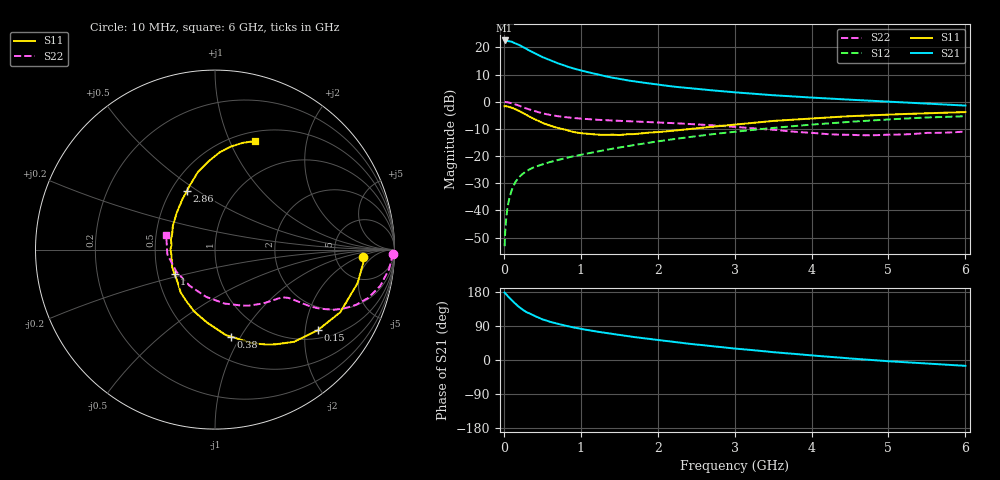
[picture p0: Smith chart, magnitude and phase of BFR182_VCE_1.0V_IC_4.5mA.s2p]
! Infineon Technologies  Discrete & RF Semiconductors
! BFR182
! VCE =  1.0 V,  IC =  4.5 mA
! Common Emitter S-Parameters:  Nov 2015
# GHz  S  MA  R  50
!  f  S11  S21  S12  S22
! GHz  MAG  ANG  MAG  ANG  MAG  ANG  MAG  ANG
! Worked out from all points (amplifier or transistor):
!   210 points, 10 MHz to 6 GHz, reference 50 ohm
!   highest |S21| = 22.5 dB at 10 MHz (marker M1)
!   |S21| within 3 dB of that: start of sweep to 286.4 MHz
!   unconditionally stable (mu >= 1): 1.046 GHz to 3.091 GHz
!   at 185 MHz: K = 0.31, MSG = 24.6 dB, |S12| = -28.2 dB
!   at 1.52 GHz: K = 1.08, MAG = 10.8 dB, |S12| = -16.8 dB
!   at 6 GHz: K = 0.92, MSG = 2.0 dB, |S12| = -5.3 dB
!   S11 on the Smith chart (normalised r, x): 10 MHz: 10, -3; 150 MHz: 1.22, -2.34; 380 MHz: 0.71, -0.91; 1 GHz: 0.61, -0.18; 2.86 GHz: 0.60, +0.45; 6 GHz: 0.60, +1.24
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0.01  0.8249 -3.0  13.38 177.9  0.0022 89.9  0.9896 -1.3
0.02  0.8293 -5.2  13.14 175.4  0.0046 82.3  0.9865 -2.7
0.04  0.8184 -10.6  13.09 171.1  0.0093 84.3  0.9788 -5.2
0.05  0.8157 -13.4  13.1 168.9  0.0117 84.7  0.9757 -6.4
0.1  0.7802 -26.6  12.74 158.3  0.0231 76.8  0.9427 -12.4
0.15  0.7278 -38.1  11.8 148.1  0.0332 70.7  0.8954 -17.5
0.2  0.6765 -49.4  11.05 139.6  0.0411 66.9  0.8437 -21.4
0.24  0.6275 -57.2  10.33 133.5  0.0464 63.3  0.8004 -23.9
0.3  0.5644 -67.9  9.228 125.8  0.0535 61.1  0.7434 -26.8
0.38  0.4929 -79.6  8.071 118.2  0.0611 58.2  0.6852 -28.8
0.5  0.4089 -96.2  6.64 107.3  0.0701 56.4  0.6128 -30.9
0.6  0.3645 -108.4  5.794 100.9  0.0776 56.1  0.5696 -31.6
0.8  0.306 -128.7  4.542 90.5  0.0915 56.3  0.519 -32.5
1  0.2641 -148.6  3.755 82.1  0.1056 57.5  0.4885 -33.4
1.02  0.2623 -150.4  3.697 81.4  0.107 57.6  0.4861 -33.6
1.4  0.2485 179.4  2.783 69.1  0.1354 58.5  0.4509 -36.8
2.02  0.2772 144.6  2.043 52.3  0.1881 57.6  0.415 -44.6
2.86  0.3623 115.6  1.55 33.3  0.2662 52.5  0.3566 -61.1
3.1  0.3906 110.2  1.451 28.5  0.2893 50.3  0.3355 -67.3
4.1  0.5026 92.7  1.169 10.5  0.3882 39.9  0.2601 -105.0
5.1  0.5866 80.1  0.986 -4.4  0.4799 27.4  0.2481 -155.3
6  0.6441 69.9  0.849 -15.4  0.5415 14.6  0.283 163.6
